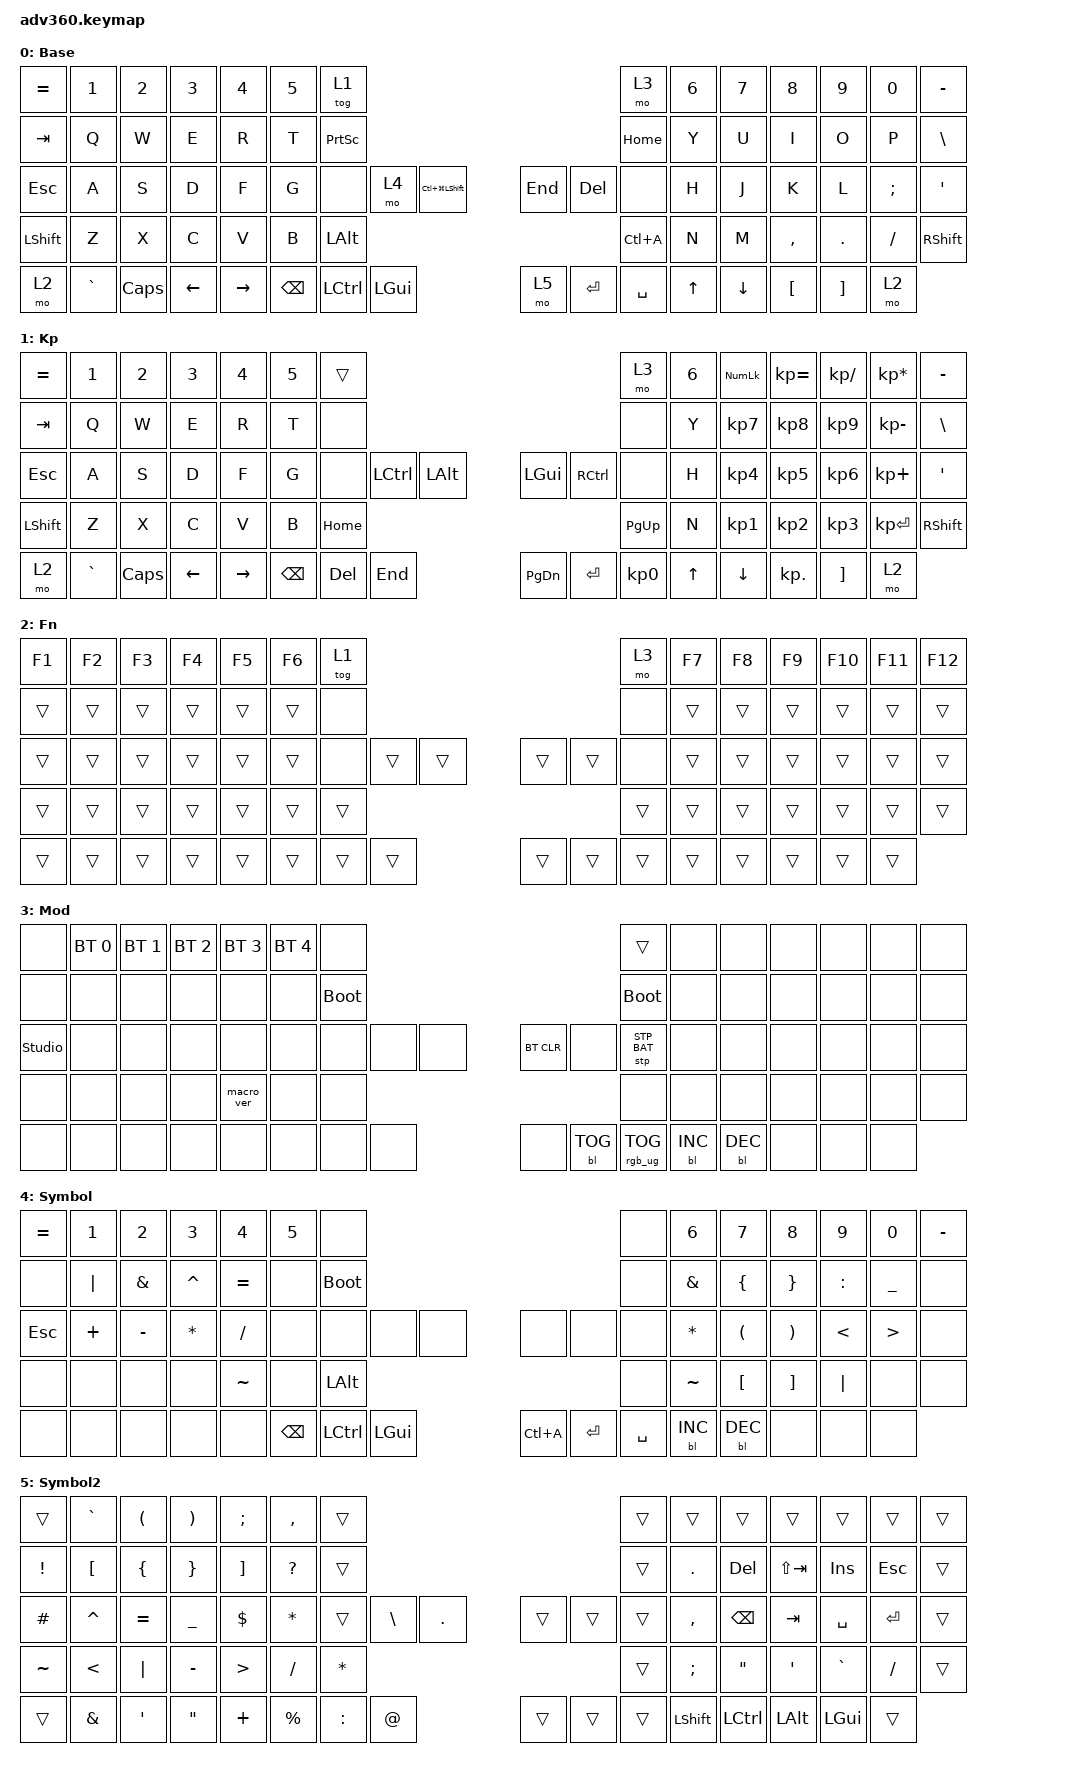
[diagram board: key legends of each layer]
#include <dt-bindings/zmk/stp.h>
#include <behaviors.dtsi>
#include <dt-bindings/zmk/backlight.h>
#include <dt-bindings/zmk/bt.h>
#include <dt-bindings/zmk/keys.h>
#include <dt-bindings/zmk/rgb.h>

/ {
    behaviors {
        #include "macros.dtsi"
      #include "version.dtsi"

        hm: homerow_mods {
            compatible = "zmk,behavior-hold-tap";
            label = "HOMEROW_MODS";
            #binding-cells = <2>;
            tapping-term-ms = <200>;
            quick_tap_ms = <175>;
            flavor = "tap-preferred";
            bindings = <&kp>, <&kp>;
        };
    };

    macros {
        double_ampr: double_ampr {
            compatible = "zmk,behavior-macro";
            #binding-cells = <0>;
            bindings = <&kp AMPS &kp AMPS>;
            label = "DOUBLE_AMPR";
        };

        double_pipe: double_pipe {
            compatible = "zmk,behavior-macro";
            #binding-cells = <0>;
            bindings = <&kp PIPE &kp PIPE>;
            label = "DOUBLE_PIPE";
        };
    };

    combos {
        compatible = "zmk,combos";

        Escape {
            bindings = <&kp ESCAPE>;
            key-positions = <41 42>;
        };
    };

    keymap {
        compatible = "zmk,keymap";

        default_layer {
            display-name = "Base";
            bindings = <
&kp EQUAL  &kp N1     &kp N2    &kp N3    &kp N4     &kp N5  &tog 1                                                                                       &mo 3     &kp N6  &kp N7  &kp N8     &kp N9    &kp N0    &kp MINUS
&kp TAB    &kp Q      &kp W     &kp E     &kp R      &kp T   &kp PRINTSCREEN                                                                              &kp HOME  &kp Y   &kp U   &kp I      &kp O     &kp P     &kp BSLH
&kp ESC    &kp A      &kp S     &kp D     &kp F      &kp G   &none                      &mo 4      &kp LC(LG(LSHIFT))    &kp END    &kp DEL                 &none     &kp H   &kp J   &kp K      &kp L     &kp SEMI  &kp SQT
&kp LSHFT  &kp Z      &kp X     &kp C     &kp V      &kp B                                         &kp LALT              &kp LC(A)                                      &kp N   &kp M   &kp COMMA  &kp DOT   &kp FSLH  &kp RSHFT
&mo 2      &kp GRAVE  &kp CAPS  &kp LEFT  &kp RIGHT                           &kp BSPC  &kp LCTRL  &kp LGUI              &mo 5  &kp ENTER  &kp SPACE                    &kp UP  &kp DOWN   &kp LBKT  &kp RBKT  &mo 2
            >;
        };

        keypad {
            display-name = "Kp";
            bindings = <
&kp EQUAL  &kp N1     &kp N2    &kp N3    &kp N4     &kp N5  &trans                                                                    &mo 3  &kp N6  &kp KP_NUM  &kp KP_EQUAL  &kp KP_DIVIDE  &kp KP_MULTIPLY  &kp MINUS
&kp TAB    &kp Q      &kp W     &kp E     &kp R      &kp T   &none                                                                     &none  &kp Y   &kp KP_N7   &kp KP_N8     &kp KP_N9      &kp KP_MINUS     &kp BSLH
&kp ESC    &kp A      &kp S     &kp D     &kp F      &kp G   &none             &kp LCTRL  &kp LALT    &kp LGUI   &kp RCTRL             &none  &kp H   &kp KP_N4   &kp KP_N5     &kp KP_N6      &kp KP_PLUS      &kp SQT
&kp LSHFT  &kp Z      &kp X     &kp C     &kp V      &kp B                                &kp HOME    &kp PG_UP                               &kp N   &kp KP_N1   &kp KP_N2     &kp KP_N3      &kp KP_ENTER     &kp RSHFT
&mo 2      &kp GRAVE  &kp CAPS  &kp LEFT  &kp RIGHT                  &kp BSPC  &kp DEL    &kp END     &kp PG_DN  &kp ENTER  &kp KP_N0                 &kp UP      &kp DOWN      &kp KP_DOT     &kp RBKT         &mo 2
            >;
        };

        fn {
            display-name = "Fn";
            bindings = <
&kp F1  &kp F2  &kp F3  &kp F4  &kp F5  &kp F6  &tog 1                                                    &mo 3  &kp F7  &kp F8  &kp F9  &kp F10  &kp F11  &kp F12
&trans  &trans  &trans  &trans  &trans  &trans  &none                                                     &none  &trans  &trans  &trans  &trans   &trans   &trans
&trans  &trans  &trans  &trans  &trans  &trans  &none           &trans  &trans    &trans  &trans          &none  &trans  &trans  &trans  &trans   &trans   &trans
&trans  &trans  &trans  &trans  &trans  &trans                          &trans    &trans                         &trans  &trans  &trans  &trans   &trans   &trans
&trans  &trans  &trans  &trans  &trans                  &trans  &trans  &trans    &trans  &trans  &trans                 &trans  &trans  &trans   &trans   &trans
            >;
        };

        mod {
            display-name = "Mod";
            bindings = <
&none           &bt BT_SEL 0  &bt BT_SEL 1  &bt BT_SEL 2  &bt BT_SEL 3  &bt BT_SEL 4  &none                                                                        &trans        &none  &none       &none       &none  &none  &none
&none           &none         &none         &none         &none         &none         &bootloader                                                                  &bootloader   &none  &none       &none       &none  &none  &none
&studio_unlock  &none         &none         &none         &none         &none         &none               &none  &none    &bt BT_CLR  &none                        &stp STP_BAT  &none  &none       &none       &none  &none  &none
&none           &none         &none         &none         &macro_ver    &none                                    &none    &none                                                  &none  &none       &none       &none  &none  &none
&none           &none         &none         &none         &none                                    &none  &none  &none    &none       &bl BL_TOG  &rgb_ug RGB_TOG                       &bl BL_INC  &bl BL_DEC  &none  &none  &none
            >;
        };

        sym {
            display-name = "Symbol";
            bindings = <
&kp EQUAL  &kp N1    &kp N2         &kp N3        &kp N4     &kp N5  &none                                                                              &none  &kp N6         &kp N7                &kp N8                 &kp N9         &kp N0            &kp MINUS
&none      &kp PIPE  &kp AMPERSAND  &kp CARET     &kp EQUAL  &none   &bootloader                                                                        &none  &kp AMPERSAND  &kp LEFT_BRACE        &kp RIGHT_BRACE        &kp COLON      &kp UNDERSCORE    &none
&kp ESC    &kp PLUS  &kp MINUS      &kp ASTERISK  &kp SLASH  &none   &none                  &none      &none           &none      &none                 &none  &kp ASTERISK   &kp LEFT_PARENTHESIS  &kp RIGHT_PARENTHESIS  &kp LESS_THAN  &kp GREATER_THAN  &none
&none      &none     &none          &none         &kp TILDE  &none                                     &kp LEFT_ALT    &none                                   &kp TILDE      &kp LEFT_BRACKET      &kp RIGHT_BRACKET      &kp PIPE       &none             &none
&none      &none     &none          &none         &none                           &kp BSPC  &kp LCTRL  &kp LEFT_GUI    &kp LC(A)  &kp ENTER  &kp SPACE                        &bl BL_INC            &bl BL_DEC             &none          &none             &none
            >;
        };

        sym2 {
          display-name = "Symbol2";
            bindings = <
&trans     &kp GRAVE         &kp LPAR          &kp RPAR           &kp SEMI           &kp COMMA     &trans                                                                    &trans  &trans      &trans             &trans            &trans        &trans      &trans
&kp EXCL   &kp LEFT_BRACKET  &kp LEFT_BRACE    &kp RIGHT_BRACE    &kp RIGHT_BRACKET  &kp QUESTION  &trans                                                                    &trans  &kp PERIOD  &kp DELETE         &kp LS(TAB)       &kp INSERT    &kp ESCAPE  &trans
&kp POUND  &kp CARET         &kp EQUAL         &kp UNDERSCORE     &kp DOLLAR         &kp ASTERISK  &trans               &kp BACKSLASH  &kp PERIOD    &trans  &trans          &trans  &kp COMMA   &kp BACKSPACE      &kp TAB           &kp SPACE     &kp ENTER   &trans
&kp TILDE  &kp LESS_THAN     &kp PIPE          &kp MINUS          &kp GREATER_THAN   &kp FSLH                                          &kp ASTRK     &trans                          &kp SEMI    &kp DOUBLE_QUOTES  &kp SINGLE_QUOTE  &kp GRAVE     &kp SLASH   &trans
&trans     &kp AMPERSAND     &kp SINGLE_QUOTE  &kp DOUBLE_QUOTES  &kp PLUS                                 &kp PERCENT  &kp COLON      &kp AT        &trans  &trans  &trans                      &kp LEFT_SHIFT     &kp LEFT_CONTROL  &kp LEFT_ALT  &kp LGUI    &trans
            >;
        };

        extra1 {
            display-name = "Red";
            status = "reserved";
        };

        extra2 {
            display-name = "Purple";
            status = "reserved";
        };

        extra3 {
            display-name = "Cyan";
            status = "reserved";
        };

        extra4 {
            display-name = "Yellow";
            status = "reserved";
        };
    };
};

